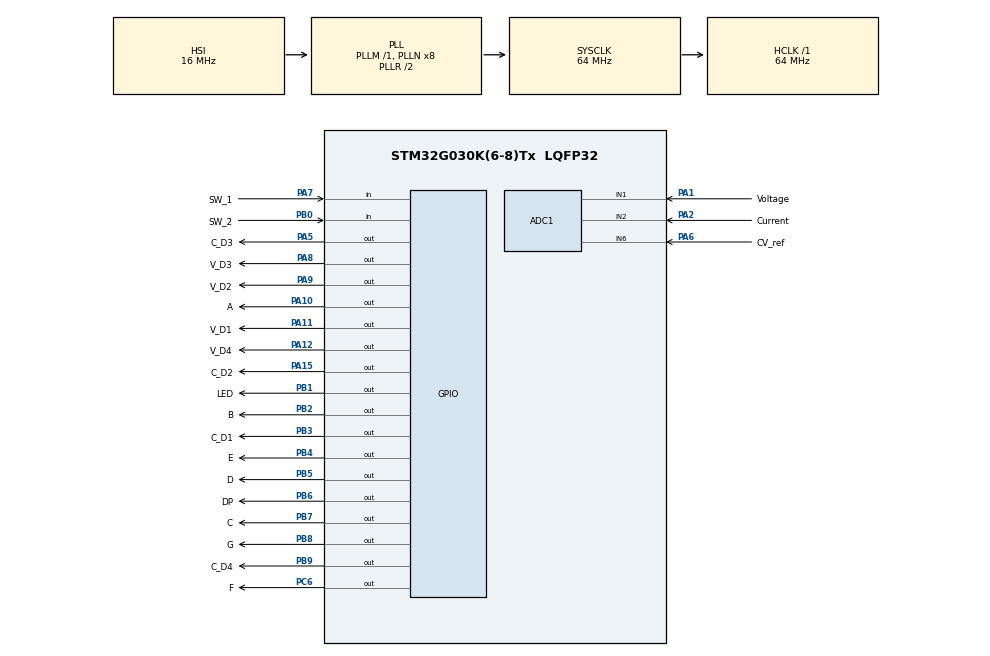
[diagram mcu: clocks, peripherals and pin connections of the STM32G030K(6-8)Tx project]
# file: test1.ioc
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ADC1.Channel-0\#ChannelRegularConversion=ADC_CHANNEL_1
ADC1.Channel-1\#ChannelRegularConversion=ADC_CHANNEL_2
ADC1.Channel-2\#ChannelRegularConversion=ADC_CHANNEL_VREFINT
ADC1.Channel-3\#ChannelRegularConversion=ADC_CHANNEL_6
ADC1.ClockPrescaler=ADC_CLOCK_ASYNC_DIV1
ADC1.ContinuousConvMode=DISABLE
ADC1.DMAContinuousRequests=ENABLE
ADC1.DiscontinuousConvMode=ENABLE
ADC1.EOCSelection=ADC_EOC_SINGLE_CONV
ADC1.EnableAnalogWatchDog1=false
ADC1.LowPowerAutoPowerOff=DISABLE
ADC1.LowPowerAutoWait=DISABLE
ADC1.NbrOfConversion=4
ADC1.NbrOfConversionFlag=1
ADC1.Overrun=ADC_OVR_DATA_OVERWRITTEN
ADC1.OversamplingMode=DISABLE
ADC1.Rank-0\#ChannelRegularConversion=1
ADC1.Rank-1\#ChannelRegularConversion=2
ADC1.Rank-2\#ChannelRegularConversion=3
ADC1.Rank-3\#ChannelRegularConversion=4
ADC1.SamplingTime-0\#ChannelRegularConversion=ADC_SAMPLINGTIME_COMMON_1
ADC1.SamplingTime-1\#ChannelRegularConversion=ADC_SAMPLINGTIME_COMMON_2
ADC1.SamplingTime-2\#ChannelRegularConversion=ADC_SAMPLINGTIME_COMMON_1
ADC1.SamplingTime-3\#ChannelRegularConversion=ADC_SAMPLINGTIME_COMMON_1
ADC1.SamplingTimeCommon1=ADC_SAMPLETIME_160CYCLES_5
ADC1.SamplingTimeCommon2=ADC_SAMPLETIME_160CYCLES_5
ADC1.SelectedChannel=ADC_CHANNEL_1|ADC_CHANNEL_2|ADC_CHANNEL_6|ADC_CHANNEL_VREFINT
ADC1.master=1
Dma.ADC1.0.Direction=DMA_PERIPH_TO_MEMORY
Dma.ADC1.0.EventEnable=DISABLE
Dma.ADC1.0.Instance=DMA1_Channel1
Dma.ADC1.0.MemDataAlignment=DMA_MDATAALIGN_HALFWORD
Dma.ADC1.0.MemInc=DMA_MINC_ENABLE
Dma.ADC1.0.Mode=DMA_CIRCULAR
Dma.ADC1.0.PeriphDataAlignment=DMA_PDATAALIGN_HALFWORD
Dma.ADC1.0.PeriphInc=DMA_PINC_DISABLE
Dma.ADC1.0.Polarity=HAL_DMAMUX_REQ_GEN_RISING
Dma.ADC1.0.Priority=DMA_PRIORITY_LOW
Dma.ADC1.0.RequestNumber=1
Dma.ADC1.0.SignalID=NONE
Dma.ADC1.0.SyncEnable=DISABLE
Dma.ADC1.0.SyncPolarity=HAL_DMAMUX_SYNC_NO_EVENT
Dma.ADC1.0.SyncRequestNumber=1
Dma.ADC1.0.SyncSignalID=NONE
Dma.Request0=ADC1
Mcu.Family=STM32G0
Mcu.Name=STM32G030K(6-8)Tx
Mcu.Package=LQFP32
NVIC.DMA1_Channel1_IRQn=true\:0\:0\:false\:false\:true\:false\:true\:true
NVIC.TIM3_IRQn=true\:0\:0\:false\:false\:true\:true\:true\:true
PA1.GPIO_Label=Voltage
PA1.Mode=IN1
PA1.Signal=ADC1_IN1
PA10.GPIO_Label=A
PA10.Signal=GPIO_Output
PA11\ [PA9].GPIO_Label=V_D1
PA11\ [PA9].Signal=GPIO_Output
PA12\ [PA10].GPIO_Label=V_D4
PA12\ [PA10].Signal=GPIO_Output
PA13.Mode=Serial_Wire
PA13.Signal=SYS_SWDIO
PA14-BOOT0.Mode=Serial_Wire
PA14-BOOT0.Signal=SYS_SWCLK
PA15.GPIO_Label=C_D2
PA15.GPIO_Speed=GPIO_SPEED_FREQ_VERY_HIGH
PA15.PinState=GPIO_PIN_RESET
PA15.Signal=GPIO_Output
PA2.GPIO_Label=Current
PA2.Mode=IN2
PA2.Signal=ADC1_IN2
PA5.GPIO_Label=C_D3
PA5.Signal=GPIO_Output
PA6.GPIO_Label=CV_ref
PA6.Mode=IN6
PA6.Signal=ADC1_IN6
PA7.GPIO_Label=SW_1
PA7.Signal=GPIO_Input
PA8.GPIO_Label=V_D3
PA8.GPIO_Speed=GPIO_SPEED_FREQ_VERY_HIGH
PA8.Signal=GPIO_Output
PA9.GPIO_Label=V_D2
PA9.Signal=GPIO_Output
PB0.GPIO_Label=SW_2
PB0.Signal=GPIO_Input
PB1.GPIO_Label=LED
PB1.GPIO_Speed=GPIO_SPEED_FREQ_VERY_HIGH
PB1.PinState=GPIO_PIN_SET
PB1.Signal=GPIO_Output
PB2.GPIO_Label=B
PB2.GPIO_Speed=GPIO_SPEED_FREQ_VERY_HIGH
PB2.Signal=GPIO_Output
PB3.GPIO_Label=C_D1
PB3.GPIO_Speed=GPIO_SPEED_FREQ_VERY_HIGH
PB3.Signal=GPIO_Output
PB4.GPIO_Label=E
PB4.GPIO_Speed=GPIO_SPEED_FREQ_VERY_HIGH
PB4.Signal=GPIO_Output
PB5.GPIO_Label=D
PB5.GPIO_Speed=GPIO_SPEED_FREQ_VERY_HIGH
PB5.Signal=GPIO_Output
PB6.GPIO_Label=DP
PB6.GPIO_Speed=GPIO_SPEED_FREQ_VERY_HIGH
PB6.Signal=GPIO_Output
PB7.GPIO_Label=C
PB7.GPIO_Speed=GPIO_SPEED_FREQ_VERY_HIGH
PB7.Signal=GPIO_Output
PB8.GPIO_Label=G
PB8.Signal=GPIO_Output
PB9.GPIO_Label=C_D4
PB9.Signal=GPIO_Output
PC6.GPIO_Label=F
PC6.GPIO_Speed=GPIO_SPEED_FREQ_VERY_HIGH
PC6.Signal=GPIO_Output
ProjectManager.HeapSize=0x200
ProjectManager.StackSize=0x400
ProjectManager.TargetToolchain=STM32CubeIDE
RCC.ADCCLockSelection=RCC_ADCCLKSOURCE_PLLADC
RCC.ADCFreq_Value=32000000
RCC.AHBFreq_Value=64000000
RCC.APB1CLKDivider=RCC_HCLK_DIV4
RCC.CortexFreq_Value=64000000
RCC.EXTERNAL_CLOCK_VALUE=12288000
RCC.HCLKFreq_Value=64000000
RCC.HSE_VALUE=8000000
RCC.HSI_VALUE=16000000
RCC.LSE_VALUE=32768
RCC.PLLP=RCC_PLLP_DIV4
RCC.SYSCLKFreq_VALUE=64000000
RCC.SYSCLKSource=RCC_SYSCLKSOURCE_PLLCLK
RCC.VCOOutputFreq_Value=128000000
TIM3.Channel-Output\ Compare1\ No\ Output=TIM_CHANNEL_1
TIM3.OCMode_1=TIM_OCMODE_TIMING
TIM3.Period=32768
TIM3.Prescaler=1
TIM3.TIM_MasterOutputTrigger=TIM_TRGO_RESET
VP_ADC1_Vref_Input.Mode=IN-Vrefint
VP_TIM3_VS_ClockSourceINT.Mode=Internal
VP_TIM3_VS_no_output1.Mode=Output Compare1 No Output
board=custom

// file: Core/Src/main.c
/* USER CODE BEGIN Header */
/**
 ******************************************************************************
 * @file           : main.c
 * @brief          : Main program body
 ******************************************************************************
 * @attention
 *
 * Copyright (c) 2025 STMicroelectronics.
 * All rights reserved.
 *
 * This software is licensed under terms that can be found in the LICENSE file
 * in the root directory of this software component.
 * If no LICENSE file comes with this software, it is provided AS-IS.
 *
 ******************************************************************************
 */
/* USER CODE END Header */
#include "main.h"

/* USER CODE BEGIN PD */

#define SAMPLES 1024.0f

#define BUTTON1_Pin GPIO_PIN_7
#define BUTTON1_GPIO_Port GPIOA

#define BUTTON2_Pin GPIO_PIN_0
#define BUTTON2_GPIO_Port GPIOB

#define OFFSET_ADC_Volt       5.0f

#define VREFINT_CAL_ADDR   ((uint16_t*)0x1FFF75AA)
#define VREFINT_CAL_VREF   3000UL   // mV

// ---- Flash geometry (G0): 2 KB pages ----
#define FLASH_PAGE_SIZE          2048U
#define FLASH_BASE_ADDR          0x08000000UL
#define FLASH_SIZE_KB            64U            // <--- set for your device
#define FLASH_END_ADDR           (FLASH_BASE_ADDR + FLASH_SIZE_KB*1024U)

#define FLASH_USER_PAGE_ADDR     (FLASH_END_ADDR - FLASH_PAGE_SIZE)
#define FLASH_USER_PAGE_INDEX    ((FLASH_USER_PAGE_ADDR - FLASH_BASE_ADDR)/FLASH_PAGE_SIZE)

//extern uint8_t modeSettings[5][4];  // Your array

GPIO_PinState b2;
GPIO_PinState b1;
/* USER CODE END PD */

ADC_HandleTypeDef hadc1;
DMA_HandleTypeDef hdma_adc1;

TIM_HandleTypeDef htim3;

/* USER CODE BEGIN PV */
HAL_StatusTypeDef status;

//uint16_t flag1 = 0;
uint16_t digits[16];

uint32_t buttonPressStartTime = 0;
uint8_t waitingFor2Sec = 0;
uint8_t inPasswordMode = 0;

uint8_t currentDigitIndex = 0;

uint8_t passwordDigits[4] = { 0, 0, 0, 0 };
const uint8_t defaultPassword[4] = { 1, 2, 3, 4 };

uint8_t correctPassword[4] = { 1, 0, 0, 0 };
uint8_t passwordEntered[4] = { 0 };
uint8_t settingDigits[4] = { 0 };
uint8_t mode = 0;
uint8_t entryComplete = 0;
uint8_t passwordMatched = 0;
uint32_t lastPress = 0, blinkTimer = 0;
uint8_t blinkState = 0;
uint8_t modeEntryActive = 0;

uint8_t editMode = 0;                 // Are we editing digits?

uint8_t readOnlyMode = 0;

uint32_t sum_V = 0;

uint32_t sum_C = 0;

float cv_ref = 0;

uint32_t ref_thresh = 0;

float average_V = 0;

float average_C = 0;

float voltage = 0;
float current = 0;

float display_voltage = 0;

float corrected_V = 0;

float display_current =0;

static float ema_current = 0.0f;
const float EMA_ALPHA = 0.05f; // smoothing factor (0.01 = very stable, 0.2 = faster response)

/* --- Stable display logic with hysteresis --- */
static float last_display_current = 0.0f;
const float DISPLAY_THRESHOLD = 0.5f;   // 100 mV stability band

int16_t corrected_A = 0;

int val_int;

float ema_voltage = 0;

float offset_correction;
float gain_correction;

uint16_t adc_vrefint = 0;   // latest ADC result for VREFINT
uint32_t vdda_mV = 0;       // calculated VDDA (mV)

uint16_t AD_RES_BUFFER[4];

const uint8_t modeLabels[5][4] = { { 28, 17, 23, 29 }, // SHnt
		{ 13, 30, 1, 13 },  // du1d
		{ 11, 30, 10, 13 }, // bUAd
		{ 25, 10, 27, 29 }, // PArt
		{ 28, 10, 30, 14 }  // SAVE
};

uint8_t modeSettings[5][4] = { { 2, 0, 0, 0 }, // Default SHnt Value
		{ 0, 1, 0, 37 }, // Default du1d Value
		{ 9, 6, 0, 0 }, // Default bUAd
		{ 14, 30, 14, 23 }, // Default: EVEn (E, V, E, n)
		{ 34, 14, 5, 37 }  // Default SAVE: y
};

uint8_t partModes[3][4] = { { 14, 30, 14, 23 }, // EVEn
		{ 0, 13, 13, 37 }, // odd
		{ 23, 24, 23, 37 }  // non
};

uint8_t saveModes[2][4] = { { 23, 24, 37, 37 }, // YES
		{ 34, 14, 5, 37 }, // NO
		};

const uint8_t baudModes[4][4] = { { 9, 6, 0, 0 },   // 9600
		{ 4, 8, 0, 0 },   // 4800
		{ 2, 4, 0, 0 },   // 2400
		{ 1, 9, 2, 0 }    // 1920
};
uint8_t baudModeIndex = 0;

uint8_t modeEditBlink = 0; // Used in Mode 3 (PArt) and Mode 4 (SAVE)

int partModeIndex = 0;
int saveToggle = 0; // 0 = EVEn, 1 = odd
int programming = 0;

typedef struct {
    uint32_t shuntValue;
    uint8_t  modeSettings[5][4];
    uint32_t crc;
} MeterSettings;

static MeterSettings settings __attribute__((aligned(8)));

/* USER CODE END PV */

void SystemClock_Config(void);
static void MX_GPIO_Init(void);
static void MX_DMA_Init(void);
static void MX_ADC1_Init(void);
static void MX_TIM3_Init(void);
/* USER CODE BEGIN PFP */

void SaveShuntValueToFlash(MeterSettings *s)
{
    HAL_FLASH_Unlock();

    FLASH_EraseInitTypeDef erase = {0};
    uint32_t page_error = 0;
    erase.TypeErase = FLASH_TYPEERASE_PAGES;
    erase.Banks     = FLASH_BANK_1;
    erase.Page      = FLASH_USER_PAGE_INDEX;
    erase.NbPages   = 1;

    HAL_FLASHEx_Erase(&erase, &page_error);

    // Program the struct as 64-bit chunks
    uint32_t addr = FLASH_USER_PAGE_ADDR;
    const uint64_t *p = (const uint64_t *)s;
    for (size_t i = 0; i < (sizeof(MeterSettings)+7)/8; i++) {
        HAL_FLASH_Program(FLASH_TYPEPROGRAM_DOUBLEWORD, addr, p[i]);
        addr += 8;
    }

    HAL_FLASH_Lock();
}

void LoadShuntValueFromFlash(MeterSettings *s)
{
    const uint64_t *p = (const uint64_t *)FLASH_USER_PAGE_ADDR;

    // If page is blank (all 0xFF), fall back to defaults
    if (p[0] == 0xFFFFFFFFFFFFFFFFULL) {
        // defaults
        s->shuntValue = 2000;   // set what you actually use
        uint8_t defaults[5][4] = {
            {2,0,0,0},      // SHnt
            {0,1,0,37},     // du1d
            {9,6,0,0},      // bUAd
            {14,30,14,23},  // PArt
            {34,14,5,37}    // SAVE
        };
        memcpy(s->modeSettings, defaults, sizeof(defaults));
        s->crc = 0;
        return;
    }

    memcpy(s, (const void*)FLASH_USER_PAGE_ADDR, sizeof(MeterSettings));
    // (Optional) verify s->crc here
}

void CurrentValue() {

	float shunt_A = ((float) modeSettings[0][0] * 100.0f)
			+ ((float) modeSettings[0][1] * 10.0f)
			+ ((float) modeSettings[0][2] * 1.0f)
			+ ((float) modeSettings[0][3] * 0.1f);
	float shunt_mV = 75.0f;    // default 75 mV
	float INA_gain = 20.0f;    // INA181 gain (fixed)

	// Derived shunt resistance
	float R_shunt = (shunt_mV) / shunt_A;  // mOhms
	sum_C = 0;
	ref_thresh = 0;

	  //cv_ref = AD_RES_BUFFER[3];

	 // HAL_GPIO_WritePin(GPIOB, GPIO_PIN_1,GPIO_PIN_SET);

	for (uint16_t i = 0; i < SAMPLES; i++) {
		HAL_ADC_Start_DMA(&hadc1, AD_RES_BUFFER, 4);
		//adcBuffer_C[i] = AD_RES_BUFFER[1];   // save each sample in buffer
		sum_C += AD_RES_BUFFER[1];         // also sum if you still need average
		ref_thresh += AD_RES_BUFFER[3];
	}

	average_C = sum_C / SAMPLES;

	cv_ref = ref_thresh / SAMPLES;

	//corrected_A = (average_C > OFFSET_ADC_Curr) ? (average_C - OFFSET_ADC_Curr) : 0;

	adc_vrefint = AD_RES_BUFFER[2] ; //fixed bandgap reference inside the chip

	uint16_t vrefint_cal = *VREFINT_CAL_ADDR;

	vdda_mV = (uint32_t) VREFINT_CAL_VREF * vrefint_cal /adc_vrefint;

	/////////////////////////////////////////////////////////////////////////////////////////////////

//	float v_adc = (corrected_A * vdda_mV) / 4095;
//
//	current = ((v_adc) / (INA_gain * R_shunt));

	// --- Delta between INA output and REF (use averaged codes) ---
	int32_t delta_code = (int32_t)average_C  -  (int32_t)cv_ref ;

	// ADC codes -> millivolts
	float v_diff_mV = (float)delta_code * ((float)vdda_mV / 4095.0f);

	current = (v_diff_mV / (INA_gain * R_shunt));

	ema_current = ema_current + EMA_ALPHA * (current - ema_current);

	if (ema_current < 0.0f) {
	    HAL_GPIO_WritePin(GPIOB, GPIO_PIN_1, GPIO_PIN_RESET);     // ON for negative
	} else {
	    HAL_GPIO_WritePin(GPIOB, GPIO_PIN_1, GPIO_PIN_SET);   // OFF for positive/zero
	}

	if (fabsf(ema_current - last_display_current) >= DISPLAY_THRESHOLD) {
		last_display_current = ema_current;
	}

	 display_current = last_display_current;

	float abs_curr = fabsf(display_current);

	if (abs_curr < 2.0)
	{
		//abs_curr = 0.0f;
		HAL_GPIO_WritePin(GPIOB, GPIO_PIN_1, GPIO_PIN_SET);
	}

	if (abs_curr < 0.8)
	{
		abs_curr = 0.0f;
//		HAL_GPIO_WritePin(GPIOB, GPIO_PIN_1, GPIO_PIN_SET);
	}

	// === Clear digits & DP flags ===
	for (int i = 4; i < 8; i++) {
	    digits[i] = 0;
	    digits[8 + i] = 0;
	}
	digits[12] = 0;  // DP after first digit
	digits[13] = 0;  // DP after second digit
	digits[14] = 0;  // DP after third digit

	// === Format magnitude (identical layout for pos/neg) ===
	int val_int;
	if (abs_curr < 10.0f) {
	    // X.XX
	    val_int = (int)(abs_curr * 100.0f + 0.5f);   // e.g. 2.34 -> 234
	    digits[4] = (val_int / 100) % 10;            // integer part
	    digits[5] = (val_int / 10)  % 10;            // first decimal
	    digits[6] =  val_int        % 10;            // second decimal
	    digits[12] = 1;                               // DP after first digit (X.XX)

	} else if (abs_curr < 100.0f) {
	    // XX.XX
	    val_int = (int)(abs_curr * 100.0f + 0.5f);   // e.g. 23.45 -> 2345
	    digits[4] = (val_int / 1000) % 10;           // tens
	    digits[5] = (val_int / 100)  % 10;           // ones
	    digits[6] = (val_int / 10)   % 10;           // first decimal
	    digits[7] =  val_int         % 10;           // second decimal
	    digits[13] = 1;                               // DP after second digit (XX.XX)

	} else {
	    // XXX.X
	    val_int = (int)(abs_curr * 10.0f + 0.5f);    // e.g. 123.4 -> 1234
	    digits[4] = (val_int / 1000) % 10;           // hundreds
	    digits[5] = (val_int / 100)  % 10;           // tens
	    digits[6] = (val_int / 10)   % 10;           // ones
	    digits[7] =  val_int         % 10;           // first decimal
	    digits[14] = 1;                               // DP after third digit (XXX.X)
	}

}

void VoltageValue() {
	sum_V = 0;

	for (uint16_t i = 0; i < SAMPLES; i++) {
		HAL_ADC_Start_DMA(&hadc1, AD_RES_BUFFER, 4);
		//adcBuffer_V[i] = AD_RES_BUFFER[0];   // save each sample in buffer
		sum_V += AD_RES_BUFFER[0];               // also sum if you still need

	}

	average_V = sum_V / SAMPLES;

	corrected_V = (average_V > 0) ? (average_V - 0) : 0;

	adc_vrefint = AD_RES_BUFFER[2]; //fixed bandgap reference inside the chip

	uint16_t vrefint_cal = *VREFINT_CAL_ADDR;

	vdda_mV = (uint32_t) VREFINT_CAL_VREF * vrefint_cal / adc_vrefint;

	voltage = (corrected_V * vdda_mV) / 4095;

	float conversion_rate = 0.05367f;
//	float conversion_rate = 0.0864378565f;   // was 9.76 → slightly smaller to keep high-end aligned
//	float gain_correction = 1.0107f;  // near-unity; keep slope stable
//	float offset_correction = -0.046f; // was 2.40 → pull offset down by ~1.0 V

	voltage = ((voltage * conversion_rate) * 2 );

	/* --- Exponential Moving Average Filter --- */
	static float ema_voltage = 0.0f;
	const float EMA_ALPHA = 0.05f;      // (0.01 = very stable, 0.2 = faster response) faster settling without looking jumpy

	ema_voltage = ema_voltage + EMA_ALPHA * (voltage - ema_voltage);

	/* --- Stable display logic with hysteresis --- */
	static float last_display_voltage = 0.0f;
	const float DISPLAY_THRESHOLD = 0.1f;  // tighter update band (50 mV)

	if (fabsf(ema_voltage - last_display_voltage) >= DISPLAY_THRESHOLD) {
	    last_display_voltage = ema_voltage;
	}

	 display_voltage = last_display_voltage;

	// After computing display_voltage
	if (fabsf(display_voltage) <= 0.3f)   // anything below 50 mV = 0.00
		display_voltage = 0.0f;

	/* ---------- clamp display_voltage (unchanged behavior) ---------- */
	if (display_voltage > 200.0f)
		display_voltage = 200.0f;
	if (display_voltage < 0.0f)
		display_voltage = 0.0f;

	/* ---------- Clear digits & DPs ---------- */
	for (int i = 0; i < 4; i++) {
		digits[i] = 0;
		digits[8 + i] = 0;
	}

	/* ---------- Extract digits + Set DP ---------- */
	/* NOTE: Using display_voltage (ring-averaged) for all formatting */
	if (display_voltage < 10.0f) {
		// Format: X.XX (1 integer + 2 decimals). Keep last digit as the 3rd decimal if you want.
		val_int = (int) (display_voltage * 100 + 0.5f); // e.g. 2.34 -> 234 (hundreds=tens etc.)

		digits[0] = (val_int / 100) % 10;  // integer part
		digits[1] = (val_int / 10) % 10;   // first decimal
		digits[2] = val_int % 10;          // second decimal
		digits[3] = 0;                     // optional: fill with fake digit if desired

		digits[8] = 1;  // DP after first digit (X.XX)
	} else if (display_voltage < 100.0f) {
		// Format: XX.XX (tens, ones, two decimals)
		val_int = (int) (display_voltage * 100 + 0.5f);  // e.g. 23.45 -> 2345

		digits[0] = (val_int / 1000) % 10; // tens
		digits[1] = (val_int / 100) % 10;  // ones
		digits[2] = (val_int / 10) % 10;   // first decimal
		digits[3] = val_int % 10;         // second decimal

		digits[9] = 1;  // DP after second digit (XX.XX)
	} else {
		// Format: XXX.X  (since you only have 4 digits, reduce decimals for 3-digit numbers)
		val_int = (int) (display_voltage * 10 + 0.5f);  // e.g. 123.4 -> 1234

		digits[0] = (val_int / 1000) % 10; // hundreds
		digits[1] = (val_int / 100) % 10;  // tens
		digits[2] = (val_int / 10) % 10;   // ones
		digits[3] = val_int % 10;         // first decimal

		digits[10] = 1;  // DP after third digit (XXX.X)
	}

//	 HAL_Delay(200);

}

/* USER CODE END PFP */

int main(void)
{

  /* MCU Configuration--------------------------------------------------------*/

  /* Reset of all peripherals, Initializes the Flash interface and the Systick. */

	HAL_Init();

  /* Configure the system clock */
  SystemClock_Config();

  /* Initialize all configured peripherals */
  MX_GPIO_Init();
  MX_DMA_Init();
  MX_ADC1_Init();
  MX_TIM3_Init();
  /* USER CODE BEGIN 2 */

	if (HAL_ADCEx_Calibration_Start(&hadc1) != HAL_OK) {
		Error_Handler();
	}

	status = HAL_TIM_OC_Start_IT(&htim3, TIM_CHANNEL_1);

	LoadShuntValueFromFlash(&settings);

	// Push persisted values into your working arrays/vars
	memcpy(modeSettings, settings.modeSettings, sizeof(modeSettings));

	digits[8] = 1;
	digits[12] = 1;

  /* USER CODE END 2 */

  /* Infinite loop */
	while (1) {

    /* USER CODE BEGIN 3 */

		GPIO_PinState b1 = HAL_GPIO_ReadPin(BUTTON1_GPIO_Port, BUTTON1_Pin);
		GPIO_PinState b2 = HAL_GPIO_ReadPin(BUTTON2_GPIO_Port, BUTTON2_Pin);
// =============== Step 1: Long-press BOTH BUTTONS to enter password mode =============== //

		if (!inPasswordMode) {
			if (b1 == GPIO_PIN_RESET && b2 == GPIO_PIN_RESET) {

				if (waitingFor2Sec == 0) {
					buttonPressStartTime = HAL_GetTick();
					waitingFor2Sec = 1;
				} else if (HAL_GetTick() - buttonPressStartTime >= 2000) {

					digits[8] = 0;
					digits[12] = 0;
					digits[9] = 0;
					digits[10] = 0;

					inPasswordMode = 1;
					entryComplete = 0;
					waitingFor2Sec = 0;
					currentDigitIndex = 0;

					// Show "PASS"
					digits[4] = 25; // P
					digits[5] = 10; // A
					digits[6] = 28; // S
					digits[7] = 28; // S

					for (int i = 0; i < 4; i++) {

						digits[i] = 0;
						passwordEntered[i] = 0;
					}

				}
			} else {
				waitingFor2Sec = 0;
				HAL_ADC_Start_DMA(&hadc1, AD_RES_BUFFER, 4);
				CurrentValue();
				VoltageValue();
			}
		}

// =============== Step 2: Enter password mode =============== //

		else if (!modeEntryActive) {

			// Blinking selected digit
			if (!entryComplete && HAL_GetTick() - blinkTimer >= 300) {
				blinkTimer = HAL_GetTick();
				blinkState = !blinkState;
				digits[currentDigitIndex] =
						blinkState ? 37 : passwordEntered[currentDigitIndex]; // 37 = blank
			}

			if (!entryComplete && HAL_GetTick() - lastPress > 300) {

				if (b1 == GPIO_PIN_RESET) {
					passwordEntered[currentDigitIndex]++;
					if (passwordEntered[currentDigitIndex] > 9)
						passwordEntered[currentDigitIndex] = 0;
					digits[currentDigitIndex] =
							passwordEntered[currentDigitIndex];
					lastPress = HAL_GetTick();
				} else if (b2 == GPIO_PIN_RESET) {
					digits[currentDigitIndex] = 36;
					currentDigitIndex++;
					if (currentDigitIndex >= 4) {
						entryComplete = 1;

						// Compare password
						passwordMatched = 1;
						for (int i = 0; i < 4; i++) {
							if (passwordEntered[i] != correctPassword[i]) {
								passwordMatched = 0;
								break;
							}

							if (passwordEntered[i] == correctPassword[i]) {
								programming = 1;
								modeEntryActive = 1;
							}
						}

						digits[0] = 14; // E
						digits[1] = 23; // n
						digits[2] = 36; // -
						digits[3] = passwordMatched ? 34 : 23; // y : n
						while (1) {
							GPIO_PinState b1 = HAL_GPIO_ReadPin(
									BUTTON1_GPIO_Port, BUTTON1_Pin);
							if (b1 == GPIO_PIN_RESET) {
								break;
							}
						}
//                           HAL_Delay(1000);

						if (!passwordMatched) {
							readOnlyMode = 1;
							mode = 0;
							currentDigitIndex = 0;
							blinkState = 0;
							blinkTimer = HAL_GetTick();

							const uint8_t defaultShnt[4] = { modeSettings[0][0],
									modeSettings[0][1], modeSettings[0][2],
									modeSettings[0][3] };
							const uint8_t defaultDuid[4] = { modeSettings[1][0],
									modeSettings[1][1], modeSettings[1][2], 37 };

							int localMode = 0; // Tracks what to show: 0 → SHnt, 1 → du1d, 2 → reset

							while (1) {
								// Show SHnt

								if (localMode == 0) {
									digits[10] = 1;
									for (int j = 0; j < 4; j++) {
										digits[j] = defaultShnt[j];
										digits[4 + j] = modeLabels[0][j];
									}
								}
								// Show du1d
								while (1) {

									GPIO_PinState b1 = HAL_GPIO_ReadPin(
											BUTTON1_GPIO_Port, BUTTON1_Pin);
									if (b1 == GPIO_PIN_RESET) {

										break;
									}
								}
								if (localMode == 1) {
									digits[10] = 0;
									for (int j = 0; j < 4; j++) {
										digits[j] = defaultDuid[j];
										digits[4 + j] = modeLabels[1][j];
									}

								}

								// Reset system after du1d
								else if (localMode == 2) {
									// === Reset system ===
									memcpy(settingDigits, defaultShnt, 4); // SHnt
									memcpy(settingDigits,
											baudModes[baudModeIndex], 4); // bUAd

									// Fully reset all state flags
									inPasswordMode = 0;
									modeEntryActive = 0;
									entryComplete = 0;
									waitingFor2Sec = 0;
									currentDigitIndex = 0;
									readOnlyMode = 0;
									programming = 0;
									editMode = 0;
									blinkState = 0;
									digits[8] = 1;
									digits[12] = 1;

									// Clear screen
									for (int i = 0; i < 8; i++)
										digits[i] = 0;

									HAL_Delay(300);

									// === Add this: exit wrong password loop ===
									break;
								}

								// Handle button 1 to cycle modes
								if (HAL_GPIO_ReadPin(BUTTON1_GPIO_Port,
										BUTTON1_Pin) == GPIO_PIN_RESET) {
									HAL_Delay(300); // debounce
									localMode++;
									if (localMode > 2)
										localMode = 2;
								}
							}
							inPasswordMode = 0;
							programming = 0;
							modeEntryActive = 0;

						}

						// if matched, go to config mode

						currentDigitIndex = 0;
						mode = 0;
						for (int i = 0; i < 4; i++)
							settingDigits[i] = 0;

					}
					lastPress = HAL_GetTick();

				}
			}
		}

// ===============Step 3: Configuration mode (if password matched)========= //
		else if (programming == 1) {
			// === INIT DEFAULT VALUES ON FIRST ENTRY ONLY ===
			static uint8_t initialized = 0;
			if (!initialized) {
				const uint8_t defaultShnt[4] = { modeSettings[0][0],
						modeSettings[0][1], modeSettings[0][2],
						modeSettings[0][3] };
				const uint8_t defaultDuid[3] = { modeSettings[1][0],
						modeSettings[1][1], modeSettings[1][2] };

				memcpy(modeSettings[0], defaultShnt, 4);           // SHnt
				memcpy(modeSettings[1], defaultDuid, 3);            // du1d
				memcpy(modeSettings[2], baudModes[baudModeIndex], 4); // bUAd
				memcpy(modeSettings[3], partModes[partModeIndex], 4); // PArt
				memcpy(modeSettings[4], saveModes[saveToggle], 4);    // SAVE

				memcpy(settingDigits, modeSettings[0], 4); // Load SHnt initially
				initialized = 1;

				digits[10] = 1;
			}

			// === MODE LABEL DISPLAY (digits 4–7) ===
			for (int i = 0; i < 4; i++)
				digits[4 + i] = modeLabels[mode][i];

			// === UPPER DIGITS DISPLAY (0–3) ===
			if (mode == 4 && editMode)  // SAVE Mode with blinking
					{
				if (HAL_GetTick() - blinkTimer >= 300) {
					blinkTimer = HAL_GetTick();
					blinkState = !blinkState;
				}

				for (int i = 0; i < 4; i++)
					digits[i] = blinkState ? 37 : settingDigits[i];
			} else if (editMode) {
				if (HAL_GetTick() - blinkTimer >= 300) {
					blinkTimer = HAL_GetTick();
					blinkState = !blinkState;
				}

				for (int i = 0; i < 4; i++)
					digits[i] =
							(blinkState && (mode >= 2))
									|| (i == currentDigitIndex && blinkState) ?
									37 : settingDigits[i];
			} else {
				for (int i = 0; i < 4; i++)
					digits[i] = settingDigits[i];
			}

			// === BUTTON HANDLING ===
			if (HAL_GetTick() - lastPress > 300) {
				// ===== BUTTON 1 =====
				if (b1 == GPIO_PIN_RESET) {
					while (HAL_GPIO_ReadPin(BUTTON1_GPIO_Port, BUTTON1_Pin)
							== GPIO_PIN_RESET)
						;

					if (editMode)

					{
						if (mode == 0 || mode == 1)
						{

							settingDigits[currentDigitIndex]++;
							if (settingDigits[currentDigitIndex] > 9)
								settingDigits[currentDigitIndex] = 0;
						}

						else if (mode == 1)  // duid mode
								{
							// Only allow editing first 3 digits (0,1,2)
							if (currentDigitIndex < 3) {
								settingDigits[currentDigitIndex]++;
								if (settingDigits[currentDigitIndex] > 9)
									settingDigits[currentDigitIndex] = 0;
							}
						}

						else if (mode == 2)  // bUAd
								{
							baudModeIndex = (baudModeIndex + 1) % 4;
							memcpy(settingDigits, baudModes[baudModeIndex], 4);
						} else if (mode == 3)  // PArt
								{
							partModeIndex = (partModeIndex + 1) % 3;
							memcpy(settingDigits, partModes[partModeIndex], 4);
						} else if (mode == 4)  // SAVE → Toggle YES/NO
								{
							saveToggle = !saveToggle;
							memcpy(settingDigits, saveModes[saveToggle], 4);
						}
					} else {
						// Save settings before switching mode
						for (int i = 0; i < 4; i++)
							modeSettings[mode][i] = settingDigits[i];

						mode = (mode + 1) % 5;
						for (int i = 0; i < 4; i++)
							settingDigits[i] = modeSettings[mode][i];

						if (mode == 0) {

							digits[10] = 1;

						} else {

							digits[10] = 0;

						}
						// Automatically enter editMode in SAVE mode
						if (mode == 4) {
							editMode = 1;
							blinkTimer = HAL_GetTick();
							saveToggle = 1;  // Start at YES
							memcpy(settingDigits, saveModes[saveToggle], 4);
						} else {
							editMode = 0;
							currentDigitIndex = 0;
						}
					}

					lastPress = HAL_GetTick();
				}

				// ===== BUTTON 2 =====
				else if (b2 == GPIO_PIN_RESET) {
					while (HAL_GPIO_ReadPin(BUTTON2_GPIO_Port, BUTTON2_Pin)
							== GPIO_PIN_RESET)
						;

					if (mode == 0 || mode == 1) {
						if (!editMode) {
							digits[10] = 1;
							editMode = 1;
							currentDigitIndex = 0;
							blinkTimer = HAL_GetTick();
						} else {
							currentDigitIndex++;
							if (mode == 1 && currentDigitIndex >= 3) // stop at digit 2
									{
								currentDigitIndex = 0;
								editMode = 0;
								for (int i = 0; i < 3; i++) // only save first 3 digits
									modeSettings[mode][i] = settingDigits[i];
							} else if (mode != 1 && currentDigitIndex >= 4) {
								currentDigitIndex = 0;
								editMode = 0;
								for (int i = 0; i < 4; i++)
									modeSettings[mode][i] = settingDigits[i];
							}

						}
					} else if (mode == 2 || mode == 3) {
						editMode = !editMode;
						blinkTimer = HAL_GetTick();

						if (!editMode) {
							for (int i = 0; i < 4; i++)
								modeSettings[mode][i] = settingDigits[i];
						}
					} else if (mode == 4)  // SAVE mode confirmation
							{
						editMode = 0;  // Stop blinking

						for (int i = 0; i < 4; i++)
							digits[i] = settingDigits[i];

						HAL_Delay(200);

						// SAVE = YES
						if (settingDigits[0] == saveModes[1][0]
								&& settingDigits[1] == saveModes[1][1]
								&& settingDigits[2] == saveModes[1][2]
								&& settingDigits[3] == saveModes[1][3]) {
							while (1) {
								GPIO_PinState b1_state = HAL_GPIO_ReadPin(
										BUTTON1_GPIO_Port, BUTTON1_Pin);
								GPIO_PinState b2_state = HAL_GPIO_ReadPin(
										BUTTON2_GPIO_Port, BUTTON2_Pin);

								if (b1_state == GPIO_PIN_RESET) {
									while (HAL_GPIO_ReadPin(BUTTON1_GPIO_Port,
											BUTTON1_Pin) == GPIO_PIN_RESET)
										;

									programming = 0;
									inPasswordMode = 0;
									modeEntryActive = 0;
									editMode = 0;
									currentDigitIndex = 0;
									initialized = 0;
									digits[8] = 1;
									digits[12] = 1;
									for (int i = 0; i < 8; i++)
										digits[i] = 0;
									HAL_Delay(300);

									memcpy(settings.modeSettings[0], modeSettings[0], 4);   // SHnt
									memcpy(settings.modeSettings[1], modeSettings[1], 4);   // du1d

									SaveShuntValueToFlash(&settings);  //SAVE FLASH VALUES

									break;
								}

								else if (b2_state == GPIO_PIN_RESET) {
									while (HAL_GPIO_ReadPin(BUTTON2_GPIO_Port,
											BUTTON2_Pin) == GPIO_PIN_RESET)
										;

									editMode = 1;
									blinkTimer = HAL_GetTick();
									currentDigitIndex = 0;
									break;
								}

								if (editMode) {
									if (HAL_GetTick() - blinkTimer >= 300) {
										blinkTimer = HAL_GetTick();
										blinkState = !blinkState;

										for (int i = 0; i < 4; i++)
											digits[i] =
													blinkState ?
															37 :
															settingDigits[i];
									}
								}
							}
						} else {

							// SAVE = NO → loop to next mode
							for (int i = 0; i < 4; i++)
								modeSettings[mode][i] = settingDigits[i];

							mode = 0;
							digits[10] = 1;
							for (int i = 0; i < 4; i++)
								settingDigits[i] = modeSettings[mode][i];
						}
					}

					lastPress = HAL_GetTick();
				}
			}
		}

////////////////////////////////////////////////////////////////////////////

	}
  /* USER CODE END 3 */
}

void SystemClock_Config(void)
{
  RCC_OscInitTypeDef RCC_OscInitStruct = {0};
  RCC_ClkInitTypeDef RCC_ClkInitStruct = {0};

  /** Configure the main internal regulator output voltage
  */
  HAL_PWREx_ControlVoltageScaling(PWR_REGULATOR_VOLTAGE_SCALE1);

  /** Initializes the RCC Oscillators according to the specified parameters
  * in the RCC_OscInitTypeDef structure.
  */
  RCC_OscInitStruct.OscillatorType = RCC_OSCILLATORTYPE_HSI;
  RCC_OscInitStruct.HSIState = RCC_HSI_ON;
  RCC_OscInitStruct.HSIDiv = RCC_HSI_DIV1;
  RCC_OscInitStruct.HSICalibrationValue = RCC_HSICALIBRATION_DEFAULT;
  RCC_OscInitStruct.PLL.PLLState = RCC_PLL_ON;
  RCC_OscInitStruct.PLL.PLLSource = RCC_PLLSOURCE_HSI;
  RCC_OscInitStruct.PLL.PLLM = RCC_PLLM_DIV1;
  RCC_OscInitStruct.PLL.PLLN = 8;
  RCC_OscInitStruct.PLL.PLLP = RCC_PLLP_DIV4;
  RCC_OscInitStruct.PLL.PLLR = RCC_PLLR_DIV2;
  if (HAL_RCC_OscConfig(&RCC_OscInitStruct) != HAL_OK)
  {
    Error_Handler();
  }

  /** Initializes the CPU, AHB and APB buses clocks
  */
  RCC_ClkInitStruct.ClockType = RCC_CLOCKTYPE_HCLK|RCC_CLOCKTYPE_SYSCLK
                              |RCC_CLOCKTYPE_PCLK1;
  RCC_ClkInitStruct.SYSCLKSource = RCC_SYSCLKSOURCE_PLLCLK;
  RCC_ClkInitStruct.AHBCLKDivider = RCC_SYSCLK_DIV1;
  RCC_ClkInitStruct.APB1CLKDivider = RCC_HCLK_DIV4;

  if (HAL_RCC_ClockConfig(&RCC_ClkInitStruct, FLASH_LATENCY_2) != HAL_OK)
  {
    Error_Handler();
  }
}

static void MX_ADC1_Init(void)
{

  ADC_ChannelConfTypeDef sConfig = {0};

  /** Configure the global features of the ADC (Clock, Resolution, Data Alignment and number of conversion)
  */
  hadc1.Instance = ADC1;
  hadc1.Init.ClockPrescaler = ADC_CLOCK_ASYNC_DIV1;
  hadc1.Init.Resolution = ADC_RESOLUTION_12B;
  hadc1.Init.DataAlign = ADC_DATAALIGN_RIGHT;
  hadc1.Init.ScanConvMode = ADC_SCAN_ENABLE;
  hadc1.Init.EOCSelection = ADC_EOC_SINGLE_CONV;
  hadc1.Init.LowPowerAutoWait = DISABLE;
  hadc1.Init.LowPowerAutoPowerOff = DISABLE;
  hadc1.Init.ContinuousConvMode = DISABLE;
  hadc1.Init.NbrOfConversion = 4;
  hadc1.Init.DiscontinuousConvMode = ENABLE;
  hadc1.Init.ExternalTrigConv = ADC_SOFTWARE_START;
  hadc1.Init.ExternalTrigConvEdge = ADC_EXTERNALTRIGCONVEDGE_NONE;
  hadc1.Init.DMAContinuousRequests = ENABLE;
  hadc1.Init.Overrun = ADC_OVR_DATA_OVERWRITTEN;
  hadc1.Init.SamplingTimeCommon1 = ADC_SAMPLETIME_160CYCLES_5;
  hadc1.Init.SamplingTimeCommon2 = ADC_SAMPLETIME_160CYCLES_5;
  hadc1.Init.OversamplingMode = DISABLE;
  hadc1.Init.TriggerFrequencyMode = ADC_TRIGGER_FREQ_HIGH;
  if (HAL_ADC_Init(&hadc1) != HAL_OK)
  {
    Error_Handler();
  }

  /** Configure Regular Channel
  */
  sConfig.Channel = ADC_CHANNEL_1;
  sConfig.Rank = ADC_REGULAR_RANK_1;
  sConfig.SamplingTime = ADC_SAMPLINGTIME_COMMON_1;
  if (HAL_ADC_ConfigChannel(&hadc1, &sConfig) != HAL_OK)
  {
    Error_Handler();
  }

  /** Configure Regular Channel
  */
  sConfig.Channel = ADC_CHANNEL_2;
  sConfig.Rank = ADC_REGULAR_RANK_2;
  sConfig.SamplingTime = ADC_SAMPLINGTIME_COMMON_2;
  if (HAL_ADC_ConfigChannel(&hadc1, &sConfig) != HAL_OK)
  {
    Error_Handler();
  }

  /** Configure Regular Channel
  */
  sConfig.Channel = ADC_CHANNEL_VREFINT;
  sConfig.Rank = ADC_REGULAR_RANK_3;
  sConfig.SamplingTime = ADC_SAMPLINGTIME_COMMON_1;
  if (HAL_ADC_ConfigChannel(&hadc1, &sConfig) != HAL_OK)
  {
    Error_Handler();
  }

  /** Configure Regular Channel
  */
  sConfig.Channel = ADC_CHANNEL_6;
  sConfig.Rank = ADC_REGULAR_RANK_4;
  if (HAL_ADC_ConfigChannel(&hadc1, &sConfig) != HAL_OK)
  {
    Error_Handler();
  }

}

static void MX_TIM3_Init(void)
{

  TIM_ClockConfigTypeDef sClockSourceConfig = {0};
  TIM_MasterConfigTypeDef sMasterConfig = {0};
  TIM_OC_InitTypeDef sConfigOC = {0};

  htim3.Instance = TIM3;
  htim3.Init.Prescaler = 1;
  htim3.Init.CounterMode = TIM_COUNTERMODE_UP;
  htim3.Init.Period = 32768;
  htim3.Init.ClockDivision = TIM_CLOCKDIVISION_DIV1;
  htim3.Init.AutoReloadPreload = TIM_AUTORELOAD_PRELOAD_DISABLE;
  if (HAL_TIM_Base_Init(&htim3) != HAL_OK)
  {
    Error_Handler();
  }
  sClockSourceConfig.ClockSource = TIM_CLOCKSOURCE_INTERNAL;
  if (HAL_TIM_ConfigClockSource(&htim3, &sClockSourceConfig) != HAL_OK)
  {
    Error_Handler();
  }
  if (HAL_TIM_OC_Init(&htim3) != HAL_OK)
  {
    Error_Handler();
  }
  sMasterConfig.MasterOutputTrigger = TIM_TRGO_RESET;
  sMasterConfig.MasterSlaveMode = TIM_MASTERSLAVEMODE_DISABLE;
  if (HAL_TIMEx_MasterConfigSynchronization(&htim3, &sMasterConfig) != HAL_OK)
  {
    Error_Handler();
  }
  sConfigOC.OCMode = TIM_OCMODE_TIMING;
  sConfigOC.Pulse = 0;
  sConfigOC.OCPolarity = TIM_OCPOLARITY_HIGH;
  sConfigOC.OCFastMode = TIM_OCFAST_DISABLE;
  if (HAL_TIM_OC_ConfigChannel(&htim3, &sConfigOC, TIM_CHANNEL_1) != HAL_OK)
  {
    Error_Handler();
  }

}

static void MX_DMA_Init(void)
{

  /* DMA controller clock enable */
  __HAL_RCC_DMA1_CLK_ENABLE();

  /* DMA interrupt init */
  /* DMA1_Channel1_IRQn interrupt configuration */
  HAL_NVIC_SetPriority(DMA1_Channel1_IRQn, 0, 0);
  HAL_NVIC_EnableIRQ(DMA1_Channel1_IRQn);

}

static void MX_GPIO_Init(void)
{
  GPIO_InitTypeDef GPIO_InitStruct = {0};

  /* GPIO Ports Clock Enable */
  __HAL_RCC_GPIOB_CLK_ENABLE();
  __HAL_RCC_GPIOA_CLK_ENABLE();
  __HAL_RCC_GPIOC_CLK_ENABLE();

  /*Configure GPIO pin Output Level */
  HAL_GPIO_WritePin(GPIOB, C_D4_Pin|B_Pin|C_D1_Pin|E_Pin
                          |D_Pin|DP_Pin|C_Pin|G_Pin, GPIO_PIN_RESET);

  /*Configure GPIO pin Output Level */
  HAL_GPIO_WritePin(GPIOA, C_D3_Pin|V_D3_Pin|V_D2_Pin|A_Pin
                          |V_D1_Pin|V_D4_Pin|C_D2_Pin, GPIO_PIN_RESET);

  /*Configure GPIO pin Output Level */
  HAL_GPIO_WritePin(LED_GPIO_Port, LED_Pin, GPIO_PIN_SET);

  /*Configure GPIO pin Output Level */
  HAL_GPIO_WritePin(F_GPIO_Port, F_Pin, GPIO_PIN_RESET);

  /*Configure GPIO pins : C_D4_Pin G_Pin */
  GPIO_InitStruct.Pin = C_D4_Pin|G_Pin;
  GPIO_InitStruct.Mode = GPIO_MODE_OUTPUT_PP;
  GPIO_InitStruct.Pull = GPIO_NOPULL;
  GPIO_InitStruct.Speed = GPIO_SPEED_FREQ_LOW;
  HAL_GPIO_Init(GPIOB, &GPIO_InitStruct);

  /*Configure GPIO pins : C_D3_Pin V_D2_Pin A_Pin V_D1_Pin
                           V_D4_Pin */
  GPIO_InitStruct.Pin = C_D3_Pin|V_D2_Pin|A_Pin|V_D1_Pin
                          |V_D4_Pin;
  GPIO_InitStruct.Mode = GPIO_MODE_OUTPUT_PP;
  GPIO_InitStruct.Pull = GPIO_NOPULL;
  GPIO_InitStruct.Speed = GPIO_SPEED_FREQ_LOW;
  HAL_GPIO_Init(GPIOA, &GPIO_InitStruct);

  /*Configure GPIO pin : SW_1_Pin */
  GPIO_InitStruct.Pin = SW_1_Pin;
  GPIO_InitStruct.Mode = GPIO_MODE_INPUT;
  GPIO_InitStruct.Pull = GPIO_NOPULL;
  HAL_GPIO_Init(SW_1_GPIO_Port, &GPIO_InitStruct);

  /*Configure GPIO pin : SW_2_Pin */
  GPIO_InitStruct.Pin = SW_2_Pin;
  GPIO_InitStruct.Mode = GPIO_MODE_INPUT;
  GPIO_InitStruct.Pull = GPIO_NOPULL;
  HAL_GPIO_Init(SW_2_GPIO_Port, &GPIO_InitStruct);

  /*Configure GPIO pins : LED_Pin B_Pin C_D1_Pin E_Pin
                           D_Pin DP_Pin C_Pin */
  GPIO_InitStruct.Pin = LED_Pin|B_Pin|C_D1_Pin|E_Pin
                          |D_Pin|DP_Pin|C_Pin;
  GPIO_InitStruct.Mode = GPIO_MODE_OUTPUT_PP;
  GPIO_InitStruct.Pull = GPIO_NOPULL;
  GPIO_InitStruct.Speed = GPIO_SPEED_FREQ_VERY_HIGH;
  HAL_GPIO_Init(GPIOB, &GPIO_InitStruct);

  /*Configure GPIO pins : V_D3_Pin C_D2_Pin */
  GPIO_InitStruct.Pin = V_D3_Pin|C_D2_Pin;
  GPIO_InitStruct.Mode = GPIO_MODE_OUTPUT_PP;
  GPIO_InitStruct.Pull = GPIO_NOPULL;
  GPIO_InitStruct.Speed = GPIO_SPEED_FREQ_VERY_HIGH;
  HAL_GPIO_Init(GPIOA, &GPIO_InitStruct);

  /*Configure GPIO pin : F_Pin */
  GPIO_InitStruct.Pin = F_Pin;
  GPIO_InitStruct.Mode = GPIO_MODE_OUTPUT_PP;
  GPIO_InitStruct.Pull = GPIO_NOPULL;
  GPIO_InitStruct.Speed = GPIO_SPEED_FREQ_VERY_HIGH;
  HAL_GPIO_Init(F_GPIO_Port, &GPIO_InitStruct);

}

void Error_Handler(void)
{
	__disable_irq();
	while (1) {
	}
}
